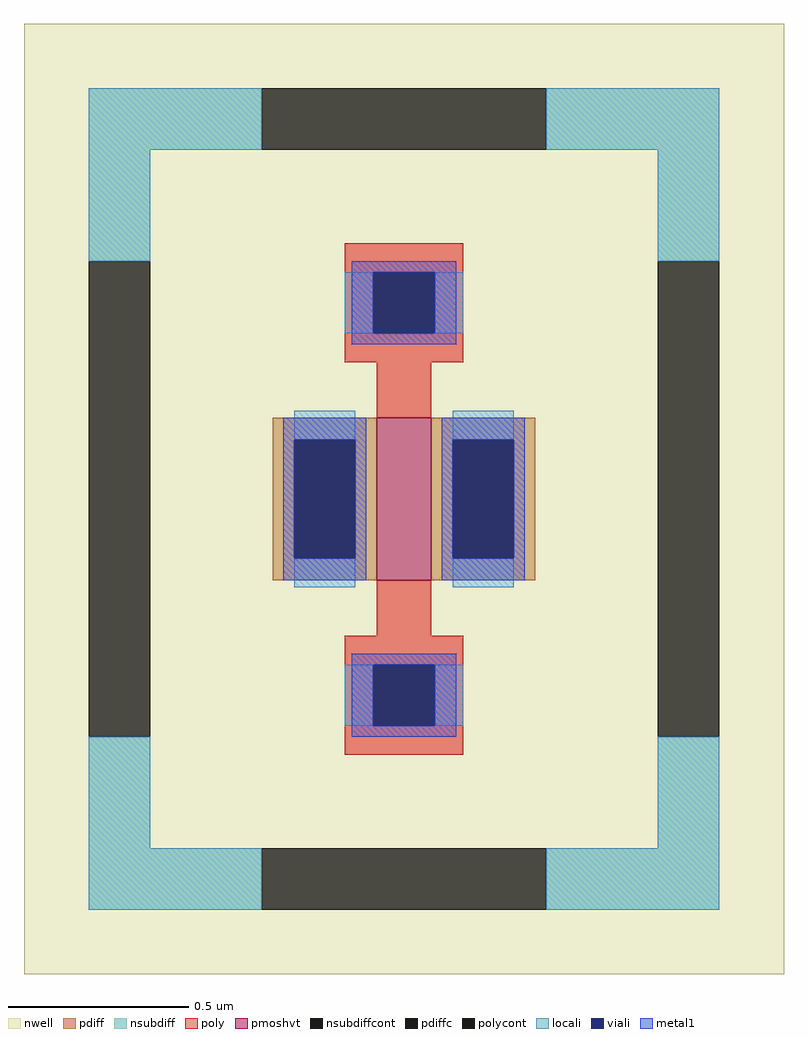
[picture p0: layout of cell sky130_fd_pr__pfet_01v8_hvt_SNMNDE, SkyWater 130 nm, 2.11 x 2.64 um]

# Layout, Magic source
magic
tech sky130A
magscale 1 2
<< nwell >>
rect -211 -264 211 264
<< pmoshvt >>
rect -15 -45 15 45
<< pdiff >>
rect -73 33 -15 45
rect -73 -33 -61 33
rect -27 -33 -15 33
rect -73 -45 -15 -33
rect 15 33 73 45
rect 15 -33 27 33
rect 61 -33 73 33
rect 15 -45 73 -33
<< pdiffc >>
rect -61 -33 -27 33
rect 27 -33 61 33
<< nsubdiff >>
rect -175 194 -79 228
rect 79 194 175 228
rect -175 132 -141 194
rect 141 132 175 194
rect -175 -194 -141 -132
rect 141 -194 175 -132
rect -175 -228 -79 -194
rect 79 -228 175 -194
<< nsubdiffcont >>
rect -79 194 79 228
rect -175 -132 -141 132
rect 141 -132 175 132
rect -79 -228 79 -194
<< poly >>
rect -33 126 33 142
rect -33 92 -17 126
rect 17 92 33 126
rect -33 76 33 92
rect -15 45 15 76
rect -15 -76 15 -45
rect -33 -92 33 -76
rect -33 -126 -17 -92
rect 17 -126 33 -92
rect -33 -142 33 -126
<< polycont >>
rect -17 92 17 126
rect -17 -126 17 -92
<< locali >>
rect -175 194 -79 228
rect 79 194 175 228
rect -175 132 -141 194
rect 141 132 175 194
rect -33 92 -17 126
rect 17 92 33 126
rect -61 33 -27 49
rect -61 -49 -27 -33
rect 27 33 61 49
rect 27 -49 61 -33
rect -33 -126 -17 -92
rect 17 -126 33 -92
rect -175 -194 -141 -132
rect 141 -194 175 -132
rect -175 -228 -79 -194
rect 79 -228 175 -194
<< viali >>
rect -17 92 17 126
rect -61 -33 -27 33
rect 27 -33 61 33
rect -17 -126 17 -92
<< metal1 >>
rect -29 126 29 132
rect -29 92 -17 126
rect 17 92 29 126
rect -29 86 29 92
rect -67 33 -21 45
rect -67 -33 -61 33
rect -27 -33 -21 33
rect -67 -45 -21 -33
rect 21 33 67 45
rect 21 -33 27 33
rect 61 -33 67 33
rect 21 -45 67 -33
rect -29 -92 29 -86
rect -29 -126 -17 -92
rect 17 -126 29 -92
rect -29 -132 29 -126
<< properties >>
string FIXED_BBOX -158 -211 158 211
string gencell sky130_fd_pr__pfet_01v8_hvt
string library sky130
string parameters w 0.45 l 0.15 m 1 nf 1 diffcov 100 polycov 100 guard 1 glc 1 grc 1 gtc 1 gbc 1 tbcov 100 rlcov 100 topc 1 botc 1 poverlap 0 doverlap 1 lmin 0.15 wmin 0.42 class mosfet compatible {sky130_fd_pr__pfet_01v8  sky130_fd_pr__pfet_01v8_lvt sky130_fd_pr__pfet_01v8_hvt  sky130_fd_pr__pfet_g5v0d10v5} full_metal 1 viasrc 100 viadrn 100 viagate 100 viagb 0 viagr 0 viagl 0 viagt 0 ad {int((nf+1)/2) * W/nf * 0.29} as {int((nf+2)/2) * W/nf * 0.29} pd {2*int((nf+1)/2) * (W/nf + 0.29)} ps {2*int((nf+2)/2) * (W/nf + 0.29)} nrd {0.29 / W} nrs {0.29 / W} sa 0 sb 0 sd 0 mult 1
<< end >>
